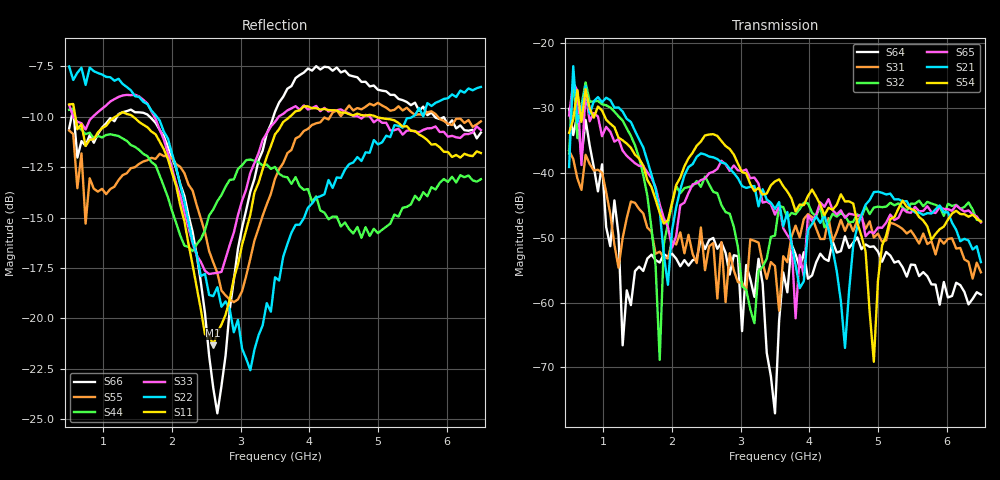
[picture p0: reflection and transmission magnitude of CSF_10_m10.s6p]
!Keysight Technologies,M9804A,MY58100912,A.14.10.03
!Date: Thursday, April 27, 2023 10:28:33
!Correction: S11(C  6-Port  )
!S12(C  6-Port  )
!S13(C  6-Port  )
!S14(C  6-Port  )
!S15(C  6-Port  )
!S16(C  6-Port  )
!S21(C  6-Port  )
!S22(C  6-Port  )
!S23(C  6-Port  )
!S24(C  6-Port  )
!S25(C  6-Port  )
!S26(C  6-Port  )
!S31(C  6-Port  )
!S32(C  6-Port  )
!S33(C  6-Port  )
!S34(C  6-Port  )
!S35(C  6-Port  )
!S36(C  6-Port  )
!S41(C  6-Port  )
!S42(C  6-Port  )
!S43(C  6-Port  )
!S44(C  6-Port  )
!S45(C  6-Port  )
!S46(C  6-Port  )
!S51(C  6-Port  )
!S52(C  6-Port  )
!S53(C  6-Port  )
!S54(C  6-Port  )
!S55(C  6-Port  )
!S56(C  6-Port  )
!S61(C  6-Port  )
!S62(C  6-Port  )
!S63(C  6-Port  )
!S64(C  6-Port  )
!S65(C  6-Port  )
!S66(C  6-Port  )
!S6P File: Measurement: :
# Hz S  RI  R 50
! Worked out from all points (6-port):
!   101 points, 500 MHz to 6.5 GHz, reference 50 ohm
!   strongest paths, dB at 500 MHz, 2 GHz, 3.5 GHz, 5 GHz, 6.5 GHz:
!     S54: -33.9, -44.6, -41.3, -56.6, -47.5
!     S21: -39.1, -48.8, -45.6, -42.9, -53.8
!     S65: -31.2, -51.5, -46.4, -48.4, -47.7
!     S32: -37.1, -44.9, -49.7, -45.2, -47.4
!     S31: -36.6, -50.6, -54.4, -49.4, -55.3
!     S64: -30.1, -52.5, -77.1, -52.1, -58.8
!   lowest |S11| = -21.4 dB at 2.6 GHz (marker M1), VSWR 1.19, Z = 42.4 + j2.21 ohm
!   |S11| at or under -10 dB: 590.4 MHz to 1.174 GHz (583.3 MHz wide, 66.1 % of centre); 1.435 GHz to 3.715 GHz (2.281 GHz wide, 88.6 % of centre); 4.976 GHz to end of sweep
